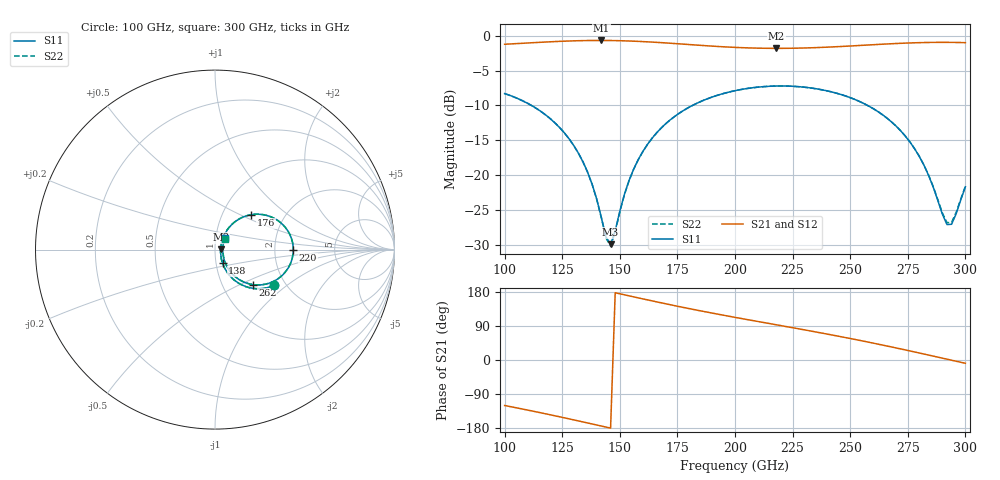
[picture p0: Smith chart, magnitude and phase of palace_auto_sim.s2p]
#  GHZ S DB R 50
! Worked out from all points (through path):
!   101 points, 100 GHz to 300 GHz, reference 50 ohm
!   highest |S21| = -0.66 dB at 142 GHz (marker M1); lowest = -1.8 dB at 218 GHz (marker M2)
!   group delay of S21, straight-line fit = 3.38 ps
!   lowest |S11| = -30.0 dB at 146 GHz (marker M3), VSWR 1.07, Z = 53.3 + j0.232 ohm
!   |S11| at or under -10 dB: 111.6 GHz to 181.5 GHz (69.9 GHz wide, 47.7 % of centre); 257.5 GHz to end of sweep
!   |S22| runs from -30.2 to -7.2 dB; largest |S21 - S12| = 1e-13
!   S11 on the Smith chart (normalised r, x): 100 GHz: 1.74, -0.81; 138 GHz: 1.08, -0.16; 176 GHz: 1.36, +0.57; 220 GHz: 2.55, -0.01; 262 GHz: 1.38, -0.59; 300 GHz: 1.11, +0.14
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100  -8.29 -31.1  -1.21 -120.0  -1.21 -120.0  -8.29 -31.2
120  -11.95 -52.1  -0.85 -144.8  -0.85 -144.8  -11.95 -52.3
134  -18.10 -62.3  -0.69 -163.4  -0.69 -163.4  -18.10 -62.7
138  -21.34 -60.5  -0.67 -168.9  -0.67 -168.9  -21.35 -61.1
142  -26.10 -47.8  -0.66 -174.3  -0.66 -174.3  -26.18 -48.7
144  -28.88 -28.7  -0.67 -177.1  -0.67 -177.1  -29.05 -29.6
146  -29.98 3.9  -0.67 -179.8  -0.67 -179.8  -30.22 3.8
152  -22.78 54.1  -0.72 172.0  -0.72 172.0  -22.84 54.7
156  -19.16 58.1  -0.77 166.6  -0.77 166.6  -19.19 58.5
168  -13.23 51.6  -0.98 150.8  -0.98 150.8  -13.24 51.8
176  -11.07 44.0  -1.16 140.7  -1.16 140.7  -11.08 44.2
200  -7.88 19.9  -1.66 112.6  -1.66 112.6  -7.88 20.0
218  -7.21 1.8  -1.80 92.8  -1.80 92.8  -7.21 1.9
220  -7.21 -0.2  -1.80 90.7  -1.80 90.7  -7.21 -0.1
234  -7.54 -14.4  -1.70 75.2  -1.70 75.2  -7.54 -14.3
248  -8.64 -28.8  -1.50 59.1  -1.50 59.1  -8.64 -28.7
262  -10.88 -43.0  -1.24 42.0  -1.24 42.0  -10.87 -42.8
268  -12.39 -48.6  -1.13 34.3  -1.13 34.3  -12.38 -48.4
280  -17.34 -55.5  -0.98 18.5  -0.98 18.5  -17.31 -55.0
292  -27.11 -12.0  -0.94 2.2  -0.94 2.2  -26.85 -11.7
294  -27.08 11.8  -0.94 -0.6  -0.94 -0.6  -26.81 11.3
300  -21.68 48.9  -0.98 -8.7  -0.98 -8.7  -21.61 48.0
